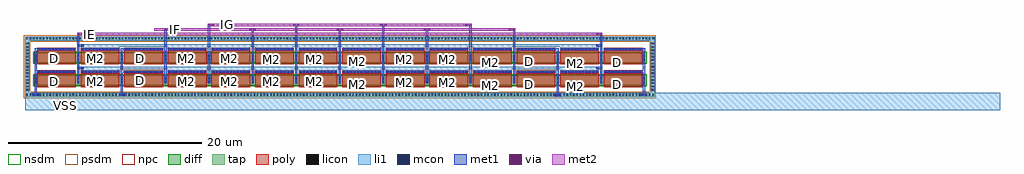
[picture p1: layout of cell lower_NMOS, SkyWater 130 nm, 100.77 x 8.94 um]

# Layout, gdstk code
from math import pi, radians
import gdstk
lib = gdstk.Library(unit=1e-6, precision=1e-09)
def R(c, l, rs):  # rectangles x0, y0, x1, y1
    for r in rs: c.add(gdstk.rectangle(r[:2], r[2:], *l))
def A(c, l, x, y, w, h, nx, ny, dx, dy):  # array of equal rectangles
    R(c, l, [(x+i*dx, y+j*dy, x+i*dx+w, y+j*dy+h) for i in range(nx) for j in range(ny)])
diff = (65, 20)
tap = (65, 44)
poly = (66, 20)
licon = (66, 44)
li1 = (67, 20)
mcon = (67, 44)
met1 = (68, 20)
via = (68, 44)
met2 = (69, 20)
nsdm = (93, 44)
psdm = (94, 20)
npc = (95, 20)

nfet_1 = lib.new_cell('nfet$1')
R(nfet_1, diff, [(0,0,63.1,1)])
A(nfet_1, poly, 0.3, -0.2, 4, 1.4, 14, 1, 4.5, 0)
A(nfet_1, poly, 0.3, 1.2, 4, 0.33, 14, 1, 4.5, 0)
A(nfet_1, licon, 4.465, 0.235, 0.17, 0.17, 13, 2, 4.5, 0.36)
A(nfet_1, licon, 0.415, 1.28, 0.17, 0.17, 11, 1, 0.36, 0)
A(nfet_1, licon, 4.915, 1.28, 0.17, 0.17, 11, 1, 0.36, 0)
A(nfet_1, licon, 9.415, 1.28, 0.17, 0.17, 11, 1, 0.36, 0)
A(nfet_1, licon, 13.915, 1.28, 0.17, 0.17, 11, 1, 0.36, 0)
A(nfet_1, licon, 18.415, 1.28, 0.17, 0.17, 11, 1, 0.36, 0)
A(nfet_1, licon, 22.915, 1.28, 0.17, 0.17, 11, 1, 0.36, 0)
A(nfet_1, licon, 27.415, 1.28, 0.17, 0.17, 11, 1, 0.36, 0)
A(nfet_1, licon, 31.915, 1.28, 0.17, 0.17, 11, 1, 0.36, 0)
A(nfet_1, licon, 36.415, 1.28, 0.17, 0.17, 11, 1, 0.36, 0)
A(nfet_1, licon, 40.915, 1.28, 0.17, 0.17, 11, 1, 0.36, 0)
A(nfet_1, licon, 45.415, 1.28, 0.17, 0.17, 11, 1, 0.36, 0)
A(nfet_1, licon, 49.915, 1.28, 0.17, 0.17, 11, 1, 0.36, 0)
A(nfet_1, licon, 54.415, 1.28, 0.17, 0.17, 11, 1, 0.36, 0)
A(nfet_1, licon, 58.915, 1.28, 0.17, 0.17, 11, 1, 0.36, 0)
R(nfet_1, licon, [(0.065,0.235,0.235,0.405), (62.865,0.235,63.035,0.405), (0.065,0.595,0.235,0.765), (62.865,0.595,63.035,0.765)])
A(nfet_1, li1, 4.465, 0.155, 0.17, 0.69, 13, 1, 4.5, 0)
A(nfet_1, li1, 0.335, 1.28, 3.93, 0.17, 14, 1, 4.5, 0)
R(nfet_1, li1, [(0.065,0.155,0.235,0.845), (62.865,0.155,63.035,0.845)])
A(nfet_1, mcon, 4.465, 0.235, 0.17, 0.17, 13, 2, 4.5, 0.36)
A(nfet_1, mcon, 0.415, 1.28, 0.17, 0.17, 11, 1, 0.36, 0)
A(nfet_1, mcon, 4.915, 1.28, 0.17, 0.17, 11, 1, 0.36, 0)
A(nfet_1, mcon, 9.415, 1.28, 0.17, 0.17, 11, 1, 0.36, 0)
A(nfet_1, mcon, 13.915, 1.28, 0.17, 0.17, 11, 1, 0.36, 0)
A(nfet_1, mcon, 18.415, 1.28, 0.17, 0.17, 11, 1, 0.36, 0)
A(nfet_1, mcon, 22.915, 1.28, 0.17, 0.17, 11, 1, 0.36, 0)
A(nfet_1, mcon, 27.415, 1.28, 0.17, 0.17, 11, 1, 0.36, 0)
A(nfet_1, mcon, 31.915, 1.28, 0.17, 0.17, 11, 1, 0.36, 0)
A(nfet_1, mcon, 36.415, 1.28, 0.17, 0.17, 11, 1, 0.36, 0)
A(nfet_1, mcon, 40.915, 1.28, 0.17, 0.17, 11, 1, 0.36, 0)
A(nfet_1, mcon, 45.415, 1.28, 0.17, 0.17, 11, 1, 0.36, 0)
A(nfet_1, mcon, 49.915, 1.28, 0.17, 0.17, 11, 1, 0.36, 0)
A(nfet_1, mcon, 54.415, 1.28, 0.17, 0.17, 11, 1, 0.36, 0)
A(nfet_1, mcon, 58.915, 1.28, 0.17, 0.17, 11, 1, 0.36, 0)
R(nfet_1, mcon, [(0.065,0.235,0.235,0.405), (62.865,0.235,63.035,0.405), (0.065,0.595,0.235,0.765), (62.865,0.595,63.035,0.765)])
A(nfet_1, met1, 4.435, 0.175, 0.23, 0.65, 13, 1, 4.5, 0)
A(nfet_1, met1, 0.355, 1.25, 3.89, 0.23, 14, 1, 4.5, 0)
R(nfet_1, met1, [(0.035,0.175,0.265,0.825), (62.835,0.175,63.065,0.825)])
R(nfet_1, nsdm, [(-0.125,-0.125,63.225,1.125)])
A(nfet_1, npc, 0.29, 1.19, 4.02, 0.35, 14, 1, 4.5, 0)

vias_gen_7 = lib.new_cell('vias_gen$7')
R(vias_gen_7, met1, [(0,0,0.66,0.26)])
R(vias_gen_7, via, [(0.095,0.055,0.245,0.205), (0.415,0.055,0.565,0.205)])
R(vias_gen_7, met2, [(0,0,0.66,0.26)])

vias_gen_10 = lib.new_cell('vias_gen$10')
R(vias_gen_10, li1, [(0,0,0.65,0.23)])
R(vias_gen_10, mcon, [(0.06,0.03,0.23,0.2), (0.42,0.03,0.59,0.2)])
R(vias_gen_10, met1, [(0,0,0.65,0.23)])

vias_gen_9 = lib.new_cell('vias_gen$9')
R(vias_gen_9, tap, [(0,0,0.41,65)])
A(vias_gen_9, licon, 0.12, 0.115, 0.17, 0.17, 1, 191, 0, 0.34)
R(vias_gen_9, li1, [(0,0,0.41,65)])
R(vias_gen_9, psdm, [(-0.125,-0.125,0.535,65.125)])

vias_gen_6 = lib.new_cell('vias_gen$6')
R(vias_gen_6, tap, [(0,0,0.41,5.4)])
A(vias_gen_6, licon, 0.12, 0.235, 0.17, 0.17, 1, 15, 0, 0.34)
R(vias_gen_6, li1, [(0,0,0.41,5.4)])
R(vias_gen_6, psdm, [(-0.125,-0.125,0.535,5.525)])

vias_gen_1 = lib.new_cell('vias_gen$1')
R(vias_gen_1, li1, [(0,0,0.66,0.23)])
R(vias_gen_1, mcon, [(0.065,0.03,0.235,0.2), (0.425,0.03,0.595,0.2)])
R(vias_gen_1, met1, [(0,0,0.66,0.23)])

lower_nmos = lib.new_cell('lower_NMOS')
A(lower_nmos, li1, -2.295, 13.33, 3.93, 0.42, 8, 2, 4.5, 2.33)
R(lower_nmos, li1, [(-17.06,9.28,83.585,11.085), (-11.295,13.33,-7.365,13.75), (38.205,13.33,42.135,13.75), (-11.035,13.52,42.42,13.75), (-11.295,15.66,-7.365,16.08), (38.205,15.66,42.135,16.08), (-11.035,15.85,42.42,16.08)])
A(lower_nmos, met1, 1.805, 12.705, 0.23, 5.51, 3, 1, 9, 0)
A(lower_nmos, met1, 6.305, 12.705, 0.23, 5.055, 4, 1, 9, 0)
A(lower_nmos, met1, -2.695, 15.035, 0.23, 1.11, 9, 1, 4.5, 0)
R(lower_nmos, met1, [(37.805,10.79,38.035,13.36), (-16.095,10.9,-15.865,12.705), (-7.195,10.905,-6.965,12.055), (46.705,10.96,46.935,15.69), (-16.095,11.49,-15.865,15.035), (-7.195,11.605,-6.965,14.385), (37.805,11.65,38.035,15.69), (-16.095,12.705,-15.865,13.36), (-11.695,12.705,-11.465,17.015), (-7.195,12.705,-6.965,13.25), (-2.695,12.705,-2.465,17.5), (28.805,12.705,29.035,18.02), (42.305,12.705,42.535,17.015), (-16.095,13.13,-15.775,13.36), (-7.195,13.13,-6.775,13.36), (37.615,13.13,38.035,13.36), (46.615,13.13,46.935,13.36), (-16.095,15.035,-15.865,15.69), (-11.695,15.035,-11.465,16.08), (-7.195,15.035,-6.965,15.58), (42.305,15.035,42.535,16.08), (-16.095,15.46,-15.775,15.69), (-7.195,15.46,-6.775,15.69), (37.615,15.46,38.035,15.69), (46.615,15.46,46.935,15.69)])
R(lower_nmos, met2, [(-11.035,17.015,42.535,17.275), (-3.745,17.5,33.325,17.76), (1.805,17.955,28.375,18.215)])
lower_nmos.add(gdstk.Reference(nfet_1, (-16.13,11.88)))
lower_nmos.add(gdstk.Reference(vias_gen_7, (15.115,17.5)))
lower_nmos.add(gdstk.Reference(vias_gen_7, (19.6,17.955)))
lower_nmos.add(gdstk.Reference(vias_gen_7, (10.595,17.955)))
lower_nmos.add(gdstk.Reference(vias_gen_7, (24.09,17.5)))
lower_nmos.add(gdstk.Reference(vias_gen_7, (6.085,17.5)))
lower_nmos.add(gdstk.Reference(vias_gen_7, (1.805,17.955)))
lower_nmos.add(gdstk.Reference(vias_gen_7, (28.375,17.955)))
lower_nmos.add(gdstk.Reference(vias_gen_7, (32.875,17.5)))
lower_nmos.add(gdstk.Reference(vias_gen_7, (-2.695,17.5)))
lower_nmos.add(gdstk.Reference(vias_gen_7, (41.875,17.015)))
lower_nmos.add(gdstk.Reference(vias_gen_7, (-11.695,17.015)))
lower_nmos.add(gdstk.Reference(vias_gen_10, (46.495,10.765)))
lower_nmos.add(gdstk.Reference(vias_gen_10, (37.58,10.735)))
lower_nmos.add(gdstk.Reference(vias_gen_10, (-7.405,10.76)))
lower_nmos.add(gdstk.Reference(vias_gen_10, (-16.315,10.79)))
lower_nmos.add(gdstk.Reference(vias_gen_9, (-17.06,16.89), rotation=3*pi/2))
lower_nmos.add(gdstk.Reference(vias_gen_6, (47.53,11.08)))
lower_nmos.add(gdstk.Reference(vias_gen_9, (-17.06,11.08), rotation=3*pi/2))
lower_nmos.add(gdstk.Reference(vias_gen_6, (-17.06,11.08)))
lower_nmos.add(gdstk.Reference(vias_gen_1, (41.875,13.52)))
lower_nmos.add(gdstk.Reference(vias_gen_1, (-11.695,13.52)))
lower_nmos.add(gdstk.Reference(vias_gen_1, (41.875,15.85)))
lower_nmos.add(gdstk.Reference(vias_gen_1, (-11.695,15.85)))
lower_nmos.add(gdstk.Reference(nfet_1, (-16.13,14.21)))
lower_nmos.add(gdstk.Label('VSS', (-12.935,9.725), layer=67, texttype=16))
lower_nmos.add(gdstk.Label('IG', (3.87,18.1), layer=69, texttype=16))
lower_nmos.add(gdstk.Label('IF', (-1.495,17.605), layer=69, texttype=16))
lower_nmos.add(gdstk.Label('IE', (-10.415,17.085), layer=69, texttype=16))
lower_nmos.add(gdstk.Label('D', (44.125,11.925), layer=68, texttype=5))
lower_nmos.add(gdstk.Label('M2', (39.705,11.765), layer=68, texttype=5))
lower_nmos.add(gdstk.Label('D', (35.045,11.97), layer=68, texttype=5))
lower_nmos.add(gdstk.Label('M2', (31.01,11.88), layer=68, texttype=5))
lower_nmos.add(gdstk.Label('M2', (26.54,12.155), layer=68, texttype=5))
lower_nmos.add(gdstk.Label('M2', (22.105,12.155), layer=68, texttype=5))
lower_nmos.add(gdstk.Label('M2', (17.28,11.935), layer=68, texttype=5))
lower_nmos.add(gdstk.Label('M2', (12.81,12.21), layer=68, texttype=5))
lower_nmos.add(gdstk.Label('M2', (8.375,12.21), layer=68, texttype=5))
lower_nmos.add(gdstk.Label('M2', (4.025,12.3), layer=68, texttype=5))
lower_nmos.add(gdstk.Label('M2', (-0.41,12.3), layer=68, texttype=5))
lower_nmos.add(gdstk.Label('D', (-5.115,12.31), layer=68, texttype=5))
lower_nmos.add(gdstk.Label('M2', (-9.765,12.3), layer=68, texttype=5))
lower_nmos.add(gdstk.Label('D', (-14.055,12.275), layer=68, texttype=5))
lower_nmos.add(gdstk.Label('D', (44.125,14.255), layer=68, texttype=5))
lower_nmos.add(gdstk.Label('M2', (39.705,14.095), layer=68, texttype=5))
lower_nmos.add(gdstk.Label('D', (35.045,14.3), layer=68, texttype=5))
lower_nmos.add(gdstk.Label('M2', (31.01,14.21), layer=68, texttype=5))
lower_nmos.add(gdstk.Label('M2', (26.54,14.485), layer=68, texttype=5))
lower_nmos.add(gdstk.Label('M2', (22.105,14.485), layer=68, texttype=5))
lower_nmos.add(gdstk.Label('M2', (17.28,14.265), layer=68, texttype=5))
lower_nmos.add(gdstk.Label('M2', (12.81,14.54), layer=68, texttype=5))
lower_nmos.add(gdstk.Label('M2', (8.375,14.54), layer=68, texttype=5))
lower_nmos.add(gdstk.Label('M2', (4.025,14.63), layer=68, texttype=5))
lower_nmos.add(gdstk.Label('M2', (-0.41,14.63), layer=68, texttype=5))
lower_nmos.add(gdstk.Label('D', (-5.115,14.64), layer=68, texttype=5))
lower_nmos.add(gdstk.Label('M2', (-9.765,14.63), layer=68, texttype=5))
lower_nmos.add(gdstk.Label('D', (-14.055,14.605), layer=68, texttype=5))

lib.write_gds('lower_NMOS.gds')
